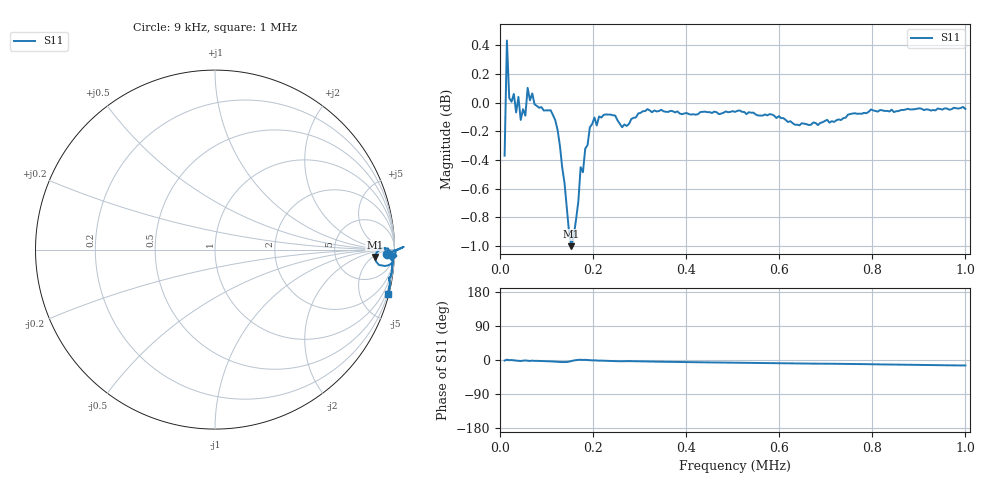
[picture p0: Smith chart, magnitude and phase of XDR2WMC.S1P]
!Agilent Technologies,E5071C,MY46100305,A.07.02
!Date: Fri Jan 01 00:41:19 1988
!Data & Calibration Information:
!Freq	S11:SOLT1(ON)
# Hz S MA R 50
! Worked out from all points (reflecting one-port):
!   201 points, 9 kHz to 1 MHz, reference 50 ohm
!   lowest |S11| = -1.0 dB at 152.7 kHz (marker M1), VSWR 17.35, Z = 746 - j301 ohm
!   phase of S11 starts at -1 deg and turns -13 deg over the sweep
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9000  0.9583 -1.4
13955  1.051 0.8
18910  1.004 -0.4
23865  1.001 -0.1
28820  1.007 -1.0
33775  0.9922 -1.6
38730  1.005 -2.0
43685  0.9862 -2.7
53595  0.9896 -1.2
58550  1.012 -2.0
63505  1.002 -2.6
68460  1.007 -1.7
108100  0.9939 -3.7
122965  0.9783 -4.9
132875  0.9492 -5.5
142785  0.9184 -5.4
152695  0.891 -2.7
167560  0.9235 0.4
172515  0.9495 0.6
177470  0.9456 0.2
192335  0.9804 -0.6
256750  0.9832 -3.2
380625  0.9931 -5.3
504500  0.9926 -7.2
628375  0.9837 -9.2
752250  0.991 -10.4
876125  0.9952 -12.5
1000000  0.995 -14.5
